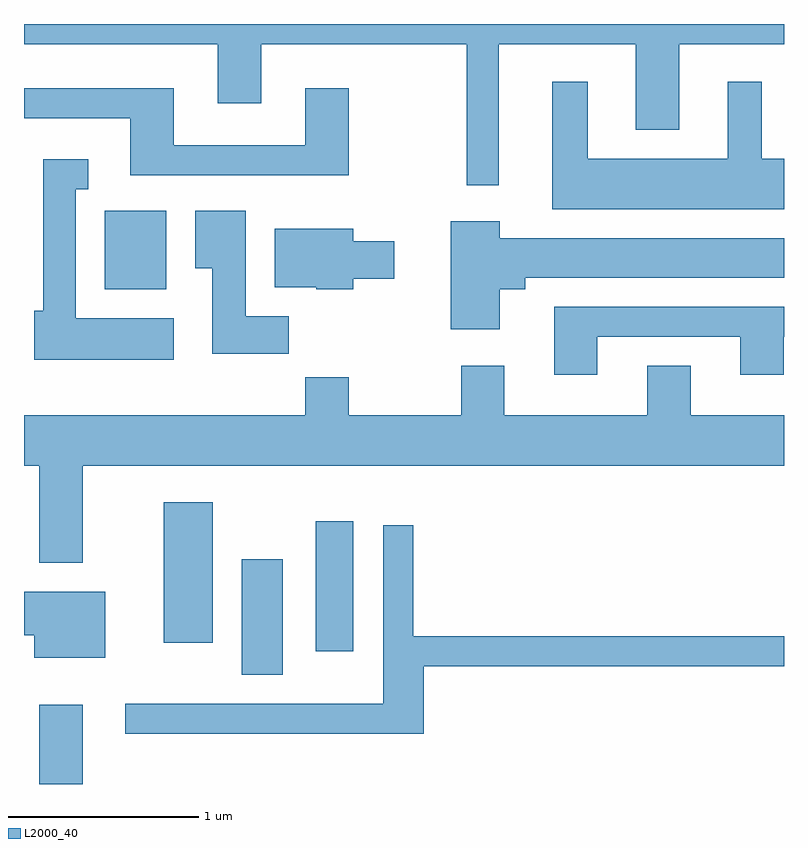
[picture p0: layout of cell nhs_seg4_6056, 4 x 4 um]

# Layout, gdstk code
import gdstk
lib = gdstk.Library(unit=1e-6, precision=1e-09)
def R(c, l, rs):  # rectangles x0, y0, x1, y1
    for r in rs: c.add(gdstk.rectangle(r[:2], r[2:], *l))
def P(c, l, *ps):  # polygons
    for p in ps: c.add(gdstk.Polygon(p, *l))
L2000_40 = (2000, 40)

nhs_seg4_6056 = lib.new_cell('nhs_seg4_6056')
R(nhs_seg4_6056, L2000_40, [(363.691,1261.982,363.919,1262.399), (364.756,1262.556,364.974,1263.164), (365.146,1262.681,365.344,1263.364), (364.346,1262.726,364.604,1263.464), (364.036,1264.586,364.359,1264.999)])
P(nhs_seg4_6056, L2000_40, [(366.109,1265.876),(366.831,1265.876),(366.831,1265.426),(367.059,1265.426),(367.059,1265.876),(367.611,1265.876),(367.611,1265.982),(363.611,1265.982),(363.611,1265.876),(364.631,1265.876),(364.631,1265.566),(364.859,1265.566),(364.859,1265.876),(365.941,1265.876),(365.941,1265.133),(366.109,1265.133)],
  [(367.611,1265.274),(367.494,1265.274),(367.494,1265.679),(367.316,1265.679),(367.316,1265.274),(366.579,1265.274),(366.579,1265.679),(366.391,1265.679),(366.391,1265.006),(367.611,1265.006)],
  [(365.319,1265.644),(365.091,1265.644),(365.091,1265.344),(364.399,1265.344),(364.399,1265.644),(363.611,1265.644),(363.611,1265.486),(364.171,1265.486),(364.171,1265.186),(365.319,1265.186)],
  [(364.399,1264.434),(363.884,1264.434),(363.884,1265.111),(363.948,1265.111),(363.948,1265.269),(363.711,1265.269),(363.711,1264.474),(363.666,1264.474),(363.666,1264.216),(364.399,1264.216)],
  [(365.004,1264.444),(364.779,1264.444),(364.779,1264.999),(364.511,1264.999),(364.511,1264.696),(364.601,1264.696),(364.601,1264.246),(365.004,1264.246)],
  [(366.114,1264.586),(366.249,1264.586),(366.249,1264.646),(367.611,1264.646),(367.611,1264.854),(366.114,1264.854),(366.114,1264.944),(365.856,1264.944),(365.856,1264.376),(366.114,1264.376)],
  [(365.344,1264.641),(365.559,1264.641),(365.559,1264.839),(365.344,1264.839),(365.344,1264.904),(364.931,1264.904),(364.931,1264.596),(365.15,1264.596),(365.15,1264.586),(365.344,1264.586)],
  [(366.629,1264.336),(367.381,1264.336),(367.381,1264.136),(367.609,1264.136),(367.609,1264.336),(367.611,1264.336),(367.611,1264.494),(366.401,1264.494),(366.401,1264.136),(366.629,1264.136)],
  [(363.919,1263.656),(367.611,1263.656),(367.611,1263.924),(367.119,1263.924),(367.119,1264.184),(366.891,1264.184),(366.891,1263.924),(366.139,1263.924),(366.139,1264.184),(365.911,1264.184),(365.911,1263.924),(365.319,1263.924),(365.319,1264.124),(365.091,1264.124),(365.091,1263.924),(363.611,1263.924),(363.611,1263.656),(363.691,1263.656),(363.691,1263.146),(363.919,1263.146)],
  [(365.714,1262.601),(367.611,1262.601),(367.611,1262.759),(365.659,1262.759),(365.659,1263.343),(365.501,1263.343),(365.501,1262.404),(364.143,1262.404),(364.143,1262.246),(365.714,1262.246)],
  [(364.039,1262.994),(363.611,1262.994),(363.611,1262.766),(363.666,1262.766),(363.666,1262.646),(364.039,1262.646)])

lib.write_gds('nhs_seg4_6056.gds')
